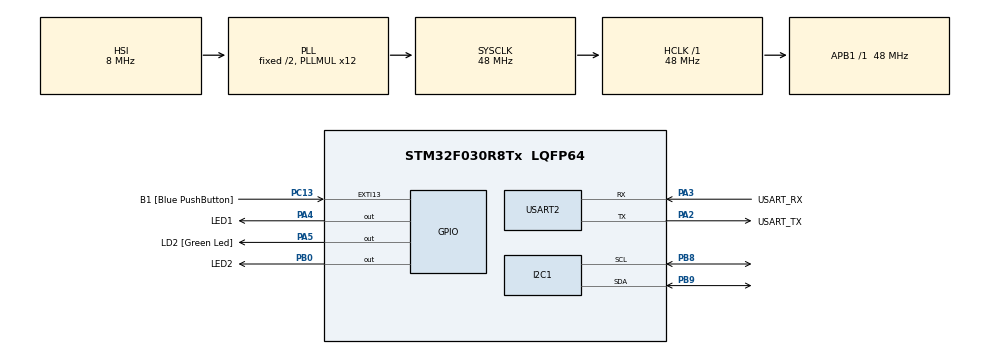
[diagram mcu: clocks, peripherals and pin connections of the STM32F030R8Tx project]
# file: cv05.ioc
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Dma.Request0=USART2_RX
Dma.USART2_RX.0.Direction=DMA_PERIPH_TO_MEMORY
Dma.USART2_RX.0.Instance=DMA1_Channel5
Dma.USART2_RX.0.MemDataAlignment=DMA_MDATAALIGN_BYTE
Dma.USART2_RX.0.MemInc=DMA_MINC_ENABLE
Dma.USART2_RX.0.Mode=DMA_CIRCULAR
Dma.USART2_RX.0.PeriphDataAlignment=DMA_PDATAALIGN_BYTE
Dma.USART2_RX.0.PeriphInc=DMA_PINC_DISABLE
Dma.USART2_RX.0.Priority=DMA_PRIORITY_LOW
Mcu.Family=STM32F0
Mcu.Name=STM32F030R8Tx
Mcu.Package=LQFP64
NVIC.DMA1_Channel4_5_IRQn=true\:0\:0\:false\:false\:true\:false\:true\:true
PA13.GPIO_Label=TMS
PA13.Mode=Serial_Wire
PA13.Signal=SYS_SWDIO
PA14.GPIO_Label=TCK
PA14.Mode=Serial_Wire
PA14.Signal=SYS_SWCLK
PA2.GPIO_Label=USART_TX
PA2.GPIO_Mode=GPIO_MODE_AF_PP
PA2.GPIO_PuPd=GPIO_NOPULL
PA2.GPIO_Speed=GPIO_SPEED_FREQ_LOW
PA2.Mode=Asynchronous
PA2.Signal=USART2_TX
PA3.GPIO_Label=USART_RX
PA3.GPIO_Mode=GPIO_MODE_AF_PP
PA3.GPIO_PuPd=GPIO_NOPULL
PA3.GPIO_Speed=GPIO_SPEED_FREQ_LOW
PA3.Mode=Asynchronous
PA3.Signal=USART2_RX
PA4.GPIO_Label=LED1
PA4.Signal=GPIO_Output
PA5.GPIO_Label=LD2 [Green Led]
PA5.GPIO_Mode=GPIO_MODE_OUTPUT_PP
PA5.GPIO_PuPd=GPIO_NOPULL
PA5.GPIO_Speed=GPIO_SPEED_FREQ_LOW
PA5.Signal=GPIO_Output
PB0.GPIO_Label=LED2
PB0.Signal=GPIO_Output
PB8.Mode=I2C
PB8.Signal=I2C1_SCL
PB9.Mode=I2C
PB9.Signal=I2C1_SDA
PC13.GPIO_Label=B1 [Blue PushButton]
PC13.GPIO_ModeDefaultEXTI=GPIO_MODE_IT_FALLING
PC13.Signal=GPXTI13
PC14-OSC32_IN.Mode=LSE-External-Oscillator
PC14-OSC32_IN.Signal=RCC_OSC32_IN
PC15-OSC32_OUT.Mode=LSE-External-Oscillator
PC15-OSC32_OUT.Signal=RCC_OSC32_OUT
PF0-OSC_IN.Mode=HSE-External-Clock-Source
PF0-OSC_IN.Signal=RCC_OSC_IN
PF1-OSC_OUT.Signal=RCC_OSC_OUT
ProjectManager.HeapSize=0x200
ProjectManager.StackSize=0x400
ProjectManager.TargetToolchain=STM32CubeIDE
RCC.AHBFreq_Value=48000000
RCC.APB1Freq_Value=48000000
RCC.APB1TimFreq_Value=48000000
RCC.HCLKFreq_Value=48000000
RCC.PLLMUL=RCC_PLL_MUL12
RCC.SYSCLKFreq_VALUE=48000000
RCC.SYSCLKSource=RCC_SYSCLKSOURCE_PLLCLK
USART2.VirtualMode-Asynchronous=VM_ASYNC
board=NUCLEO-F030R8

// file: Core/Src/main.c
/* USER CODE BEGIN Header */
/**
 ******************************************************************************
 * @file           : main.c
 * @brief          : Main program body
 ******************************************************************************
 * @attention
 *
 * Copyright (c) 2023 STMicroelectronics.
 * All rights reserved.
 *
 * This software is licensed under terms that can be found in the LICENSE file
 * in the root directory of this software component.
 * If no LICENSE file comes with this software, it is provided AS-IS.
 *
 ******************************************************************************
 */
/* USER CODE END Header */
#include "main.h"

/* USER CODE BEGIN Includes */
#include <stdio.h>
#include <string.h>
#include <stdlib.h>
/* USER CODE END Includes */

/* USER CODE BEGIN PD */
#define RX_BUFFER_LEN 64
#define uart_rx_write_ptr (RX_BUFFER_LEN - hdma_usart2_rx.Instance->CNDTR)
#define CMD_BUFFER_LEN 256
#define EEPROM_ADDR 0xA0
/* USER CODE END PD */

/* USER CODE BEGIN PM */
static uint8_t uart_rx_buf[RX_BUFFER_LEN];
static volatile uint16_t uart_rx_read_ptr = 0;
/* USER CODE END PM */

I2C_HandleTypeDef hi2c1;

UART_HandleTypeDef huart2;
DMA_HandleTypeDef hdma_usart2_rx;

void SystemClock_Config(void);
static void MX_GPIO_Init(void);
static void MX_DMA_Init(void);
static void MX_USART2_UART_Init(void);
static void MX_I2C1_Init(void);

/* USER CODE BEGIN 0 */
int _write(int file, char const *buf, int n){
	/* stdout redirection to UART2 */
	HAL_UART_Transmit(&huart2, (uint8_t*) (buf), n, HAL_MAX_DELAY);
	return n;
}

static void uart_process_command(char *cmd){
	char *token;
	token = strtok(cmd, " ");
	//-------------HELLO command-------------------------------------------------
	if (strcasecmp(token, "HELLO") == 0) {
		printf("Komunikace OK\n");
	}//-------------LED1 command-------------------------------------------------
	else if (strcasecmp(token, "LED1") == 0) {
		token = strtok(NULL, " ");

		if (strcasecmp(token, "ON") == 0) {
			//turn on LED1
			HAL_GPIO_WritePin(LED1_GPIO_Port, LED1_Pin, 1);

		}
		if (strcasecmp(token, "OFF") == 0) {
			//turn off LED1
			HAL_GPIO_WritePin(LED1_GPIO_Port, LED1_Pin, 0);

		}

		printf("OK\n");
	}
	//-------------LED2 command-------------------------------------------------
	else if (strcasecmp(token, "LED2") == 0) {
		token = strtok(NULL, " ");

		if (strcasecmp(token, "ON") == 0) {
			//turn on LED1
			HAL_GPIO_WritePin(LED2_GPIO_Port, LED2_Pin, 1);

		}
		if (strcasecmp(token, "OFF")==0) {
			//turn off LED1
			HAL_GPIO_WritePin(LED2_GPIO_Port, LED2_Pin, 0);

		}
		printf("OK\n");
	}
	//-------------STATUS command-------------------------------------------------
	else if (strcasecmp(token, "STATUS") == 0){
		uint8_t l1 = HAL_GPIO_ReadPin(LED1_GPIO_Port, LED1_Pin);
		uint8_t l2 = HAL_GPIO_ReadPin(LED2_GPIO_Port, LED2_Pin);

		printf("Stav LED1: %d \n", l1 );
		printf("Stav LED2: %d \n", l2 );
	}
	//-------------READ command-------------------------------------------------
	else if (strcasecmp(token, "READ") == 0){
		token = strtok(NULL, " ");

		uint16_t addr = atoi(token);
		uint8_t value;
		HAL_I2C_Mem_Read(&hi2c1, EEPROM_ADDR, addr, I2C_MEMADD_SIZE_16BIT, &value, 1, 1000);
		printf("Hodnota na adrese: 0x%02X je 0x%02X\n", addr, value);
	}
	//-------------WRITE command-------------------------------------------------
	else if (strcasecmp(token, "WRITE") == 0){
		token = strtok(NULL, " ");

		uint16_t addr=atoi(token);
		uint8_t value;

		HAL_I2C_Mem_Write(&hi2c1, EEPROM_ADDR, addr, I2C_MEMADD_SIZE_16BIT, &value, 1, 1000);
		while (HAL_I2C_IsDeviceReady(&hi2c1, EEPROM_ADDR, 300, 1000) == HAL_TIMEOUT){}
		printf("Ok\n");

	}
	//-------------DUMP command-------------------------------------------------
	else if (strcasecmp(token, "DUMP") == 0){
		uint16_t addr;
		uint8_t value;
		printf("Hodnota na adresach 0x0000 az 0x000F su: \n");

		for (addr = 0; addr < 16; addr++){
			HAL_I2C_Mem_Read(&hi2c1, EEPROM_ADDR, addr, I2C_MEMADD_SIZE_16BIT, &value, 1, 1000);

			printf("0x%02X ", value);
			if(addr == 7 || addr == 15 ){
				printf("\n");
			}

		}

	}

}

static void uart_byte_available(uint8_t c){

	 static uint16_t cnt;
	 static char data[CMD_BUFFER_LEN];

	 if (cnt < CMD_BUFFER_LEN && c >= 32 && c <= 126)
		 data[cnt++] = c;

	 if ((c == '\n' || c == '\r') && cnt > 0) {
		 data[cnt] = '\0';
		 uart_process_command(data);
		 cnt = 0;
	 }
}

/* USER CODE END 0 */

int main(void)
{

  /* MCU Configuration--------------------------------------------------------*/

  /* Reset of all peripherals, Initializes the Flash interface and the Systick. */
  HAL_Init();

  /* Configure the system clock */
  SystemClock_Config();

  /* Initialize all configured peripherals */
  MX_GPIO_Init();
  MX_DMA_Init();
  MX_USART2_UART_Init();
  MX_I2C1_Init();

  /* Infinite loop */
  /* USER CODE BEGIN WHILE */
	HAL_UART_Receive_DMA(&huart2, uart_rx_buf, RX_BUFFER_LEN);

		while (1) {
			while (uart_rx_read_ptr != uart_rx_write_ptr) {
				uint8_t b = uart_rx_buf[uart_rx_read_ptr];

			 if (++uart_rx_read_ptr >= RX_BUFFER_LEN)
				 uart_rx_read_ptr = 0; // increase read pointer

			 uart_byte_available(b); // process every received byte with the RX state machine
			}

    /* USER CODE END WHILE */

		}
}

void SystemClock_Config(void)
{
  RCC_OscInitTypeDef RCC_OscInitStruct = {0};
  RCC_ClkInitTypeDef RCC_ClkInitStruct = {0};
  RCC_PeriphCLKInitTypeDef PeriphClkInit = {0};

  /** Initializes the RCC Oscillators according to the specified parameters
  * in the RCC_OscInitTypeDef structure.
  */
  RCC_OscInitStruct.OscillatorType = RCC_OSCILLATORTYPE_HSI;
  RCC_OscInitStruct.HSIState = RCC_HSI_ON;
  RCC_OscInitStruct.HSICalibrationValue = RCC_HSICALIBRATION_DEFAULT;
  RCC_OscInitStruct.PLL.PLLState = RCC_PLL_ON;
  RCC_OscInitStruct.PLL.PLLSource = RCC_PLLSOURCE_HSI;
  RCC_OscInitStruct.PLL.PLLMUL = RCC_PLL_MUL12;
  RCC_OscInitStruct.PLL.PREDIV = RCC_PREDIV_DIV1;
  if (HAL_RCC_OscConfig(&RCC_OscInitStruct) != HAL_OK)
  {
    Error_Handler();
  }

  /** Initializes the CPU, AHB and APB buses clocks
  */
  RCC_ClkInitStruct.ClockType = RCC_CLOCKTYPE_HCLK|RCC_CLOCKTYPE_SYSCLK
                              |RCC_CLOCKTYPE_PCLK1;
  RCC_ClkInitStruct.SYSCLKSource = RCC_SYSCLKSOURCE_PLLCLK;
  RCC_ClkInitStruct.AHBCLKDivider = RCC_SYSCLK_DIV1;
  RCC_ClkInitStruct.APB1CLKDivider = RCC_HCLK_DIV1;

  if (HAL_RCC_ClockConfig(&RCC_ClkInitStruct, FLASH_LATENCY_1) != HAL_OK)
  {
    Error_Handler();
  }
  PeriphClkInit.PeriphClockSelection = RCC_PERIPHCLK_I2C1;
  PeriphClkInit.I2c1ClockSelection = RCC_I2C1CLKSOURCE_HSI;
  if (HAL_RCCEx_PeriphCLKConfig(&PeriphClkInit) != HAL_OK)
  {
    Error_Handler();
  }
}

static void MX_I2C1_Init(void)
{

  hi2c1.Instance = I2C1;
  hi2c1.Init.Timing = 0x2000090E;
  hi2c1.Init.OwnAddress1 = 0;
  hi2c1.Init.AddressingMode = I2C_ADDRESSINGMODE_7BIT;
  hi2c1.Init.DualAddressMode = I2C_DUALADDRESS_DISABLE;
  hi2c1.Init.OwnAddress2 = 0;
  hi2c1.Init.OwnAddress2Masks = I2C_OA2_NOMASK;
  hi2c1.Init.GeneralCallMode = I2C_GENERALCALL_DISABLE;
  hi2c1.Init.NoStretchMode = I2C_NOSTRETCH_DISABLE;
  if (HAL_I2C_Init(&hi2c1) != HAL_OK)
  {
    Error_Handler();
  }

  /** Configure Analogue filter
  */
  if (HAL_I2CEx_ConfigAnalogFilter(&hi2c1, I2C_ANALOGFILTER_ENABLE) != HAL_OK)
  {
    Error_Handler();
  }

  /** Configure Digital filter
  */
  if (HAL_I2CEx_ConfigDigitalFilter(&hi2c1, 0) != HAL_OK)
  {
    Error_Handler();
  }

}

static void MX_USART2_UART_Init(void)
{

  huart2.Instance = USART2;
  huart2.Init.BaudRate = 38400;
  huart2.Init.WordLength = UART_WORDLENGTH_8B;
  huart2.Init.StopBits = UART_STOPBITS_1;
  huart2.Init.Parity = UART_PARITY_NONE;
  huart2.Init.Mode = UART_MODE_TX_RX;
  huart2.Init.HwFlowCtl = UART_HWCONTROL_NONE;
  huart2.Init.OverSampling = UART_OVERSAMPLING_16;
  huart2.Init.OneBitSampling = UART_ONE_BIT_SAMPLE_DISABLE;
  huart2.AdvancedInit.AdvFeatureInit = UART_ADVFEATURE_NO_INIT;
  if (HAL_UART_Init(&huart2) != HAL_OK)
  {
    Error_Handler();
  }

}

static void MX_DMA_Init(void)
{

  /* DMA controller clock enable */
  __HAL_RCC_DMA1_CLK_ENABLE();

  /* DMA interrupt init */
  /* DMA1_Channel4_5_IRQn interrupt configuration */
  HAL_NVIC_SetPriority(DMA1_Channel4_5_IRQn, 0, 0);
  HAL_NVIC_EnableIRQ(DMA1_Channel4_5_IRQn);

}

static void MX_GPIO_Init(void)
{
  GPIO_InitTypeDef GPIO_InitStruct = {0};

  /* GPIO Ports Clock Enable */
  __HAL_RCC_GPIOC_CLK_ENABLE();
  __HAL_RCC_GPIOF_CLK_ENABLE();
  __HAL_RCC_GPIOA_CLK_ENABLE();
  __HAL_RCC_GPIOB_CLK_ENABLE();

  /*Configure GPIO pin Output Level */
  HAL_GPIO_WritePin(GPIOA, LED1_Pin|LD2_Pin, GPIO_PIN_RESET);

  /*Configure GPIO pin Output Level */
  HAL_GPIO_WritePin(LED2_GPIO_Port, LED2_Pin, GPIO_PIN_RESET);

  /*Configure GPIO pin : B1_Pin */
  GPIO_InitStruct.Pin = B1_Pin;
  GPIO_InitStruct.Mode = GPIO_MODE_IT_FALLING;
  GPIO_InitStruct.Pull = GPIO_NOPULL;
  HAL_GPIO_Init(B1_GPIO_Port, &GPIO_InitStruct);

  /*Configure GPIO pins : LED1_Pin LD2_Pin */
  GPIO_InitStruct.Pin = LED1_Pin|LD2_Pin;
  GPIO_InitStruct.Mode = GPIO_MODE_OUTPUT_PP;
  GPIO_InitStruct.Pull = GPIO_NOPULL;
  GPIO_InitStruct.Speed = GPIO_SPEED_FREQ_LOW;
  HAL_GPIO_Init(GPIOA, &GPIO_InitStruct);

  /*Configure GPIO pin : LED2_Pin */
  GPIO_InitStruct.Pin = LED2_Pin;
  GPIO_InitStruct.Mode = GPIO_MODE_OUTPUT_PP;
  GPIO_InitStruct.Pull = GPIO_NOPULL;
  GPIO_InitStruct.Speed = GPIO_SPEED_FREQ_LOW;
  HAL_GPIO_Init(LED2_GPIO_Port, &GPIO_InitStruct);

}

void Error_Handler(void)
{
	__disable_irq();
	while (1) {
	}
}
